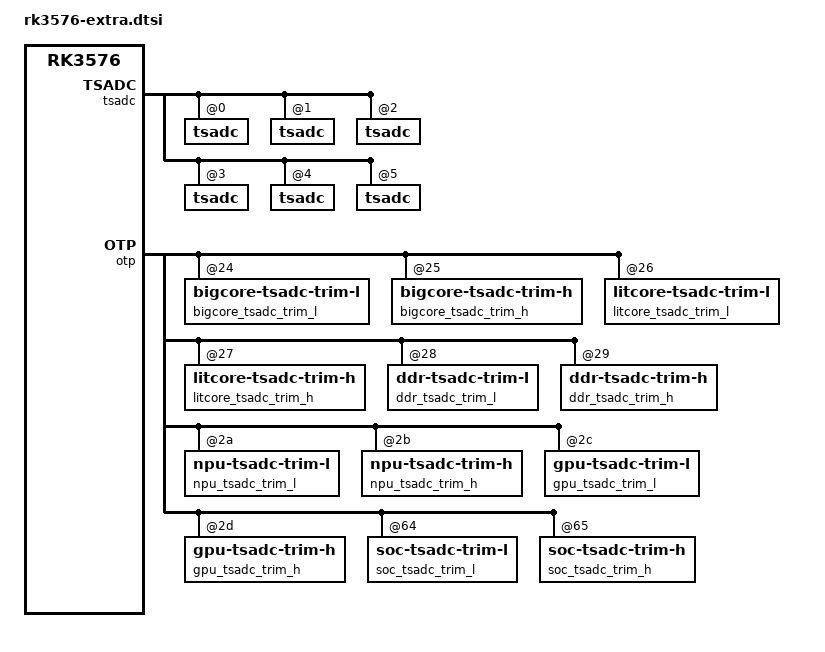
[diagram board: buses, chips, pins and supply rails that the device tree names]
// SPDX-License-Identifier: (GPL-2.0+ OR MIT)
/*
 * Copyright (c) 2024 Rockchip Electronics Co., Ltd.
 *
 */

&hdptxphy {
	#clock-cells = <0>;
};

&vop {
	clocks = <&cru ACLK_VOP>,
		 <&cru HCLK_VOP>,
		 <&cru DCLK_VP0>,
		 <&cru DCLK_VP1>,
		 <&cru DCLK_VP2>,
		 <&hdptxphy>;
	clock-names = "aclk",
		      "hclk",
		      "dclk_vp0",
		      "dclk_vp1",
		      "dclk_vp2",
		      "pll_hdmiphy0";
};

&tsadc {
	#address-cells = <1>;
	#size-cells = <0>;

	tsadc@0 {
		reg = <0>;
		nvmem-cells = <&soc_tsadc_trim_l>, <&soc_tsadc_trim_h>;
		nvmem-cell-names = "trim_l", "trim_h";
	};
	tsadc@1 {
		reg = <1>;
		nvmem-cells = <&bigcore_tsadc_trim_l>, <&bigcore_tsadc_trim_h>;
		nvmem-cell-names = "trim_l", "trim_h";
	};
	tsadc@2 {
		reg = <2>;
		nvmem-cells = <&litcore_tsadc_trim_l>, <&litcore_tsadc_trim_h>;
		nvmem-cell-names = "trim_l", "trim_h";
	};
	tsadc@3 {
		reg = <3>;
		nvmem-cells = <&ddr_tsadc_trim_l>, <&ddr_tsadc_trim_h>;
		nvmem-cell-names = "trim_l", "trim_h";
	};
	tsadc@4 {
		reg = <4>;
		nvmem-cells = <&npu_tsadc_trim_l>, <&npu_tsadc_trim_h>;
		nvmem-cell-names = "trim_l", "trim_h";
	};
	tsadc@5 {
		reg = <5>;
		nvmem-cells = <&gpu_tsadc_trim_l>, <&gpu_tsadc_trim_h>;
		nvmem-cell-names = "trim_l", "trim_h";
	};
};

&otp {
	bigcore_tsadc_trim_l: bigcore-tsadc-trim-l@24 {
		reg = <0x24 0x1>;
	};
	bigcore_tsadc_trim_h: bigcore-tsadc-trim-h@25 {
		reg = <0x25 0x1>;
		bits = <0 2>;
	};
	litcore_tsadc_trim_l: litcore-tsadc-trim-l@26 {
		reg = <0x26 0x1>;
	};
	litcore_tsadc_trim_h: litcore-tsadc-trim-h@27 {
		reg = <0x27 0x1>;
		bits = <0 2>;
	};
	ddr_tsadc_trim_l: ddr-tsadc-trim-l@28 {
		reg = <0x28 0x1>;
	};
	ddr_tsadc_trim_h: ddr-tsadc-trim-h@29 {
		reg = <0x29 0x1>;
		bits = <0 2>;
	};
	npu_tsadc_trim_l: npu-tsadc-trim-l@2a {
		reg = <0x2a 0x1>;
	};
	npu_tsadc_trim_h: npu-tsadc-trim-h@2b {
		reg = <0x2b 0x1>;
		bits = <0 2>;
	};
	gpu_tsadc_trim_l: gpu-tsadc-trim-l@2c {
		reg = <0x2c 0x1>;
	};
	gpu_tsadc_trim_h: gpu-tsadc-trim-h@2d {
		reg = <0x2d 0x1>;
		bits = <0 2>;
	};
	soc_tsadc_trim_l: soc-tsadc-trim-l@64 {
		reg = <0x64 0x1>;
	};
	soc_tsadc_trim_h: soc-tsadc-trim-h@65 {
		reg = <0x65 0x1>;
		bits = <0 2>;
	};
};

